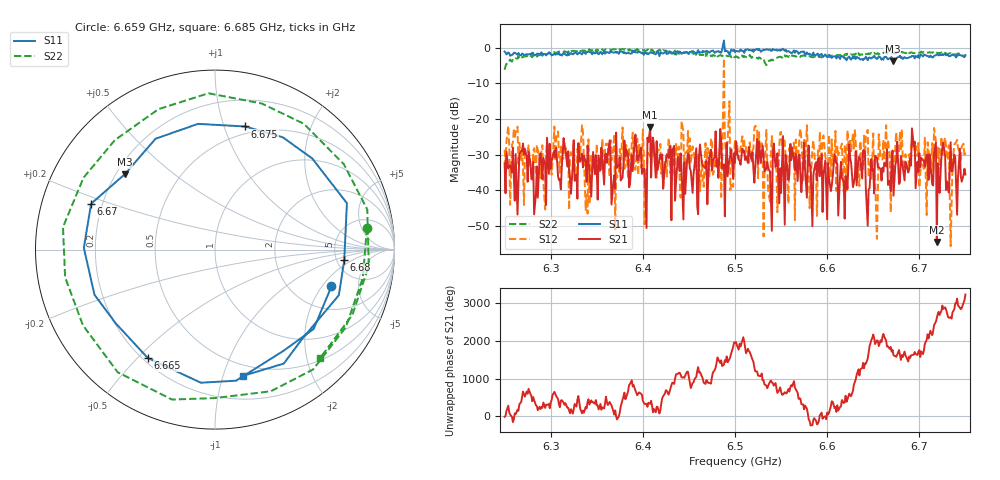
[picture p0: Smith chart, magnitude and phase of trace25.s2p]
# Hz S RI R 50
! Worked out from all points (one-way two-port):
!   401 points, 6.25 GHz to 6.75 GHz, reference 50 ohm
!   highest |S21| = -22.32 dB at 6.408 GHz (marker M1); lowest = -54.5 dB at 6.719 GHz (marker M2)
!   lowest |S11| = -3.7 dB at 6.671 GHz (marker M3), VSWR 4.80, Z = 11.7 + j17.3 ohm
!   |S11| at or under -10 dB: nowhere
!   |S22| runs from -6.2 to -0.2 dB; largest |S21 - S12| = 0.71
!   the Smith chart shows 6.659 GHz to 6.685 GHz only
!   S11 on the Smith chart (normalised r, x): 6.659 GHz: 3.24, -2.48; 6.665 GHz: 0.22, -0.54; 6.67 GHz: 0.16, +0.17; 6.675 GHz: 0.43, +1.18; 6.68 GHz: 5.84, -1.46; 6.685 GHz: 0.40, -1.16
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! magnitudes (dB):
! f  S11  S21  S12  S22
! 6.25 GHz  -1.0  -32.4  -28.6  -6.2
! 6.334 GHz  -1.9  -29.7  -21.7  -0.8
! 6.34 GHz  -1.2  -27.4  -46.5  -0.8
! 6.359 GHz  -1.7  -30.2  -28.6  -0.5
! 6.401 GHz  -2.0  -33.8  -29.4  -0.6
! 6.408 GHz  -1.3  -22.3  -30.5  -1.0
! 6.418 GHz  -2.3  -31.6  -28.7  -0.5
! 6.5 GHz  -1.2  -32.3  -25.7  -2.7
! 6.584 GHz  -2.1  -50.1  -28.5  -2.7
! 6.628 GHz  -2.5  -39.1  -24.2  -2.0
! 6.654 GHz  -3.2  -30.8  -53.6  -1.7
! 6.659 GHz  -3.3  -37.2  -31.3  -1.4
! 6.665 GHz  -3.0  -28.6  -33.3  -1.6
! 6.668 GHz  -2.9  -37.2  -30.0  -1.2
! 6.67 GHz  -2.7  -30.7  -35.3  -1.4
! 6.671 GHz  -3.7  -28.8  -38.5  -1.3
! 6.675 GHz  -3.0  -31.7  -23.7  -1.5
! 6.68 GHz  -2.8  -30.4  -29.0  -1.3
! 6.685 GHz  -2.8  -32.1  -29.9  -1.5
! 6.719 GHz  -1.9  -54.5  -28.4  -1.4
! 6.734 GHz  -2.3  -26.5  -55.6  -1.5
! 6.75 GHz  -2.1  -35.5  -29.4  -2.3
